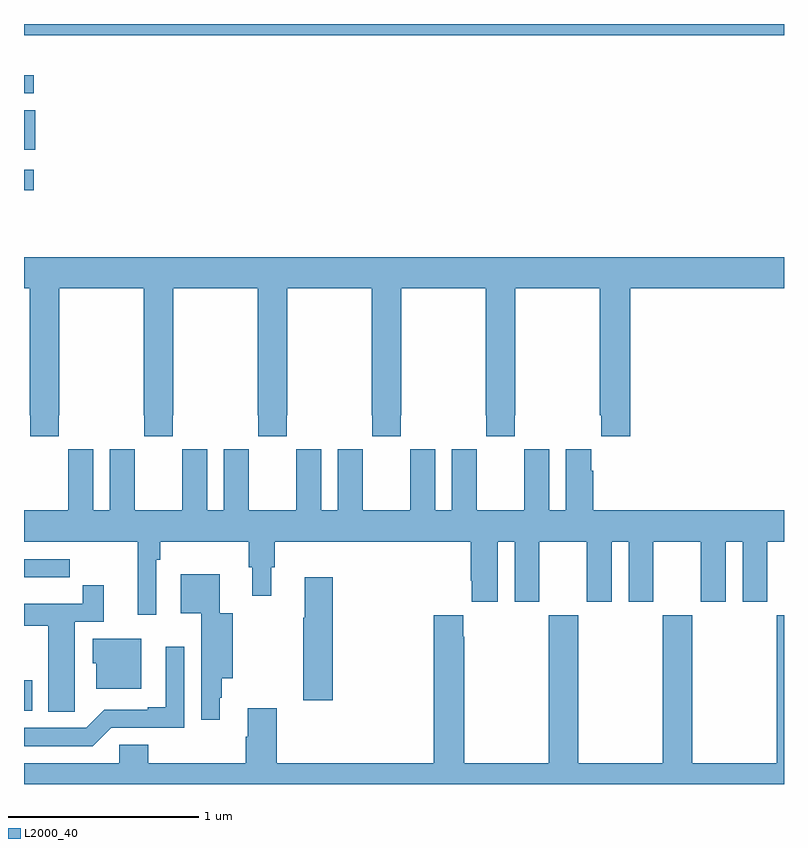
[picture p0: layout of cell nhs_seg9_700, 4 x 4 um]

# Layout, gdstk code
import gdstk
lib = gdstk.Library(unit=1e-6, precision=1e-09)
def R(c, l, rs):  # rectangles x0, y0, x1, y1
    for r in rs: c.add(gdstk.rectangle(r[:2], r[2:], *l))
def P(c, l, *ps):  # polygons
    for p in ps: c.add(gdstk.Polygon(p, *l))
L2000_40 = (2000, 40)

nhs_seg9_700 = lib.new_cell('nhs_seg9_700')
R(nhs_seg9_700, L2000_40, [(147,1172.885,147.043,1173.045), (147,1175.625,147.052,1175.733), (147,1175.837,147.058,1176.046), (147,1176.135,147.052,1176.231), (147,1176.44,151,1176.5)])
P(nhs_seg9_700, L2000_40, [(147.183,1174.441),(147.186,1174.441),(147.186,1175.108),(147.631,1175.108),(147.631,1174.441),(147.633,1174.441),(147.633,1174.329),(147.783,1174.329),(147.783,1174.441),(147.786,1174.441),(147.786,1175.108),(148.231,1175.108),(148.231,1174.441),(148.233,1174.441),(148.233,1174.329),(148.383,1174.329),(148.383,1174.441),(148.386,1174.441),(148.386,1175.108),(148.831,1175.108),(148.831,1174.441),(148.833,1174.441),(148.833,1174.329),(148.983,1174.329),(148.983,1174.441),(148.986,1174.441),(148.986,1175.108),(149.431,1175.108),(149.431,1174.441),(149.433,1174.441),(149.433,1174.329),(149.583,1174.329),(149.583,1174.441),(149.586,1174.441),(149.586,1175.108),(150.031,1175.108),(150.031,1174.441),(150.037,1174.441),(150.037,1174.329),(150.191,1174.329),(150.191,1175.108),(151,1175.108),(151,1175.272),(147,1175.272),(147,1175.108),(147.031,1175.108),(147.031,1174.441),(147.033,1174.441),(147.033,1174.329),(147.183,1174.329)],
  [(149.351,1173.571),(149.357,1173.571),(149.357,1173.459),(149.494,1173.459),(149.494,1173.776),(149.582,1173.776),(149.582,1173.459),(149.713,1173.459),(149.713,1173.776),(149.963,1173.776),(149.963,1173.459),(150.094,1173.459),(150.094,1173.776),(150.182,1173.776),(150.182,1173.459),(150.313,1173.459),(150.313,1173.776),(150.563,1173.776),(150.563,1173.459),(150.694,1173.459),(150.694,1173.776),(150.782,1173.776),(150.782,1173.459),(150.913,1173.459),(150.913,1173.776),(151,1173.776),(151,1173.94),(149.996,1173.94),(149.996,1174.148),(149.986,1174.148),(149.986,1174.261),(149.852,1174.261),(149.852,1173.94),(149.764,1173.94),(149.764,1174.261),(149.634,1174.261),(149.634,1174.148),(149.633,1174.148),(149.633,1173.94),(149.383,1173.94),(149.383,1174.148),(149.382,1174.148),(149.382,1174.261),(149.252,1174.261),(149.252,1173.94),(149.164,1173.94),(149.164,1174.261),(149.034,1174.261),(149.034,1174.148),(149.033,1174.148),(149.033,1173.94),(148.783,1173.94),(148.783,1174.148),(148.782,1174.148),(148.782,1174.261),(148.652,1174.261),(148.652,1173.94),(148.564,1173.94),(148.564,1174.261),(148.434,1174.261),(148.434,1174.148),(148.433,1174.148),(148.433,1173.94),(148.183,1173.94),(148.183,1174.148),(148.182,1174.148),(148.182,1174.261),(148.052,1174.261),(148.052,1173.94),(147.964,1173.94),(147.964,1174.261),(147.834,1174.261),(147.834,1174.148),(147.833,1174.148),(147.833,1173.94),(147.583,1173.94),(147.583,1174.148),(147.582,1174.148),(147.582,1174.261),(147.452,1174.261),(147.452,1173.94),(147.364,1173.94),(147.364,1174.261),(147.234,1174.261),(147.234,1174.148),(147.233,1174.148),(147.233,1173.94),(147,1173.94),(147,1173.776),(147.599,1173.776),(147.599,1173.39),(147.696,1173.39),(147.696,1173.68),(147.716,1173.68),(147.716,1173.776),(148.183,1173.776),(148.183,1173.642),(148.202,1173.642),(148.202,1173.492),(148.3,1173.492),(148.3,1173.642),(148.319,1173.642),(148.319,1173.776),(149.351,1173.776)],
  [(147.128,1173.588),(147.241,1173.588),(147.241,1173.684),(147,1173.684),(147,1173.587),(147.128,1173.587)],
  [(148.03,1172.955),(148.042,1172.955),(148.042,1173.056),(148.098,1173.056),(148.098,1173.4),(148.03,1173.4),(148.03,1173.604),(147.824,1173.604),(147.824,1173.398),(147.932,1173.398),(147.932,1173.16),(147.933,1173.16),(147.933,1172.838),(148.03,1172.838)],
  [(148.625,1173.589),(148.478,1173.589),(148.478,1173.376),(148.471,1173.376),(148.471,1172.94),(148.625,1172.94)],
  [(147.267,1172.992),(147.268,1172.992),(147.268,1173.354),(147.419,1173.354),(147.419,1173.547),(147.31,1173.547),(147.31,1173.45),(147,1173.45),(147,1173.334),(147.128,1173.334),(147.128,1172.881),(147.267,1172.881)],
  [(151,1173.388),(150.961,1173.388),(150.961,1172.608),(150.516,1172.608),(150.516,1173.388),(150.361,1173.388),(150.361,1172.608),(149.916,1172.608),(149.916,1173.388),(149.761,1173.388),(149.761,1172.608),(149.316,1172.608),(149.316,1173.275),(149.311,1173.275),(149.311,1173.388),(149.156,1173.388),(149.156,1172.608),(148.331,1172.608),(148.331,1172.899),(148.178,1172.899),(148.178,1172.75),(148.166,1172.75),(148.166,1172.608),(147.653,1172.608),(147.653,1172.706),(147.501,1172.706),(147.501,1172.608),(147,1172.608),(147,1172.5),(151,1172.5)],
  [(147.616,1173.265),(147.362,1173.265),(147.362,1173.135),(147.38,1173.135),(147.38,1173.002),(147.616,1173.002)],
  [(147.459,1172.796),(147.843,1172.796),(147.843,1173.223),(147.746,1173.223),(147.746,1172.905),(147.65,1172.905),(147.65,1172.892),(147.423,1172.892),(147.327,1172.796),(147,1172.796),(147,1172.7),(147.363,1172.7)])

lib.write_gds('nhs_seg9_700.gds')
